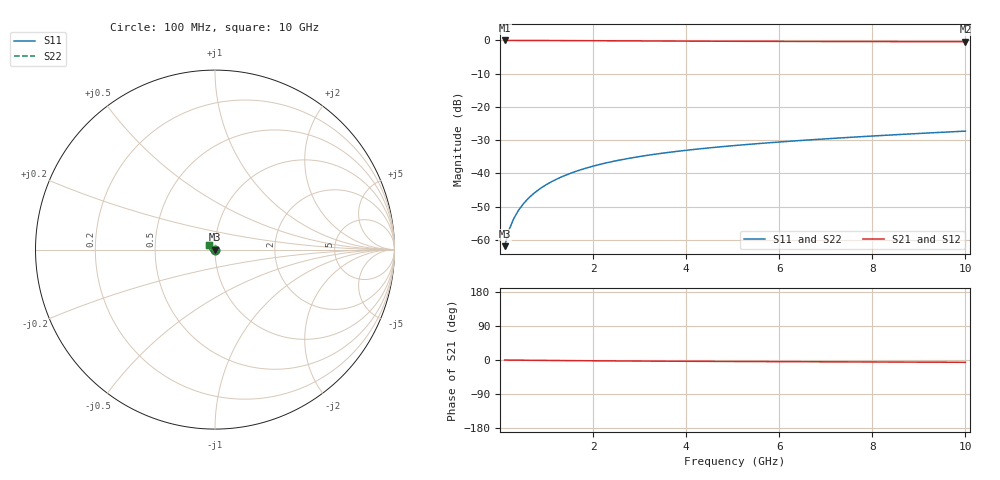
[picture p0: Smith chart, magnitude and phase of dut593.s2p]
! Touchstone file exported from HFSS 2024.1.0
!  File:  C:/UserFiles/LocalFiles/RDL_TSV_Batchsim/temp_TSV1_593_1779710265.aedt
!  Generated:  08:04:16 PM May 25, 2026
!  Design:  TSV1
!  Project:  temp_TSV1_593_1779710265
!  Setup:  Setup1
!  Solution:  Sweep
! Variables:
!  dtsv = 6um
!  hbump = 3um
!  htsv = 91.28um
!  lrdl = 252.1521522um
!  p = 40
!  p1 = 50.07um
!  t = 500um
!  trdl = 3um
!  wrdl = 24.89489489um
# GHz S MA R 50.000000
! Terminal data exported
! Port[1] = TSV22_T1
! Port[2] = TSV22_T2
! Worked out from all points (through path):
!   100 points, 100 MHz to 10 GHz, reference 50 ohm
!   highest |S21| = 0.00 dB at 100 MHz (marker M1); lowest = -0.4 dB at 10 GHz (marker M2)
!   lowest |S11| = -61.9 dB at 100 MHz (marker M3), VSWR 1.00, Z = 50 - j0.07 ohm
!   |S11| at or under -10 dB: start of sweep to end of sweep
!   |S22| runs from -61.9 to -27.3 dB; largest |S21 - S12| = 5.9e-15
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0.1  0.0008064 -60.1  0.9995 -0.1  0.9995 -0.1  0.0008064 -60.1
! Gamma 0 0 0 0
! Port Impedance 50 0 50 0
0.2  0.001448 -77.0  0.9994 -0.2  0.9994 -0.2  0.001448 -77.0
0.3  0.002122 -84.8  0.9993 -0.3  0.9993 -0.3  0.002122 -84.8
0.4  0.002801 -89.9  0.9991 -0.5  0.9991 -0.5  0.002801 -89.9
0.5  0.003481 -93.8  0.9989 -0.6  0.9989 -0.6  0.003481 -93.8
0.6  0.004158 -97.1  0.9986 -0.7  0.9986 -0.7  0.004158 -97.1
0.7  0.004831 -100.1  0.9982 -0.8  0.9982 -0.8  0.004831 -100.1
0.8  0.005499 -102.9  0.9979 -0.9  0.9979 -0.9  0.005499 -102.9
0.9  0.006161 -105.5  0.9974 -1.0  0.9974 -1.0  0.006161 -105.5
1.1  0.007461 -110.4  0.9965 -1.2  0.9965 -1.2  0.007461 -110.4
1.4  0.009349 -117.2  0.9948 -1.5  0.9948 -1.5  0.009349 -117.2
1.6  0.01056 -121.5  0.9935 -1.7  0.9935 -1.7  0.01056 -121.5
1.8  0.01173 -125.7  0.9922 -1.9  0.9922 -1.9  0.01173 -125.7
2.1  0.01342 -131.5  0.9901 -2.1  0.9901 -2.1  0.01342 -131.5
2.5  0.01553 -138.9  0.9872 -2.5  0.9872 -2.5  0.01553 -138.9
2.9  0.01749 -145.8  0.9843 -2.7  0.9843 -2.7  0.01749 -145.8
3.4  0.01976 -153.6  0.9809 -3.1  0.9809 -3.1  0.01976 -153.6
4.2  0.02308 -164.8  0.976 -3.5  0.976 -3.5  0.02308 -164.8
5.1  0.02649 -175.7  0.9715 -3.9  0.9715 -3.9  0.02649 -175.7
6.7  0.03211 168.8  0.9654 -4.6  0.9654 -4.6  0.03211 168.8
8.4  0.03788 156.0  0.961 -5.4  0.961 -5.4  0.03788 156.0
10  0.04329 146.6  0.958 -6.0  0.958 -6.0  0.04329 146.6
